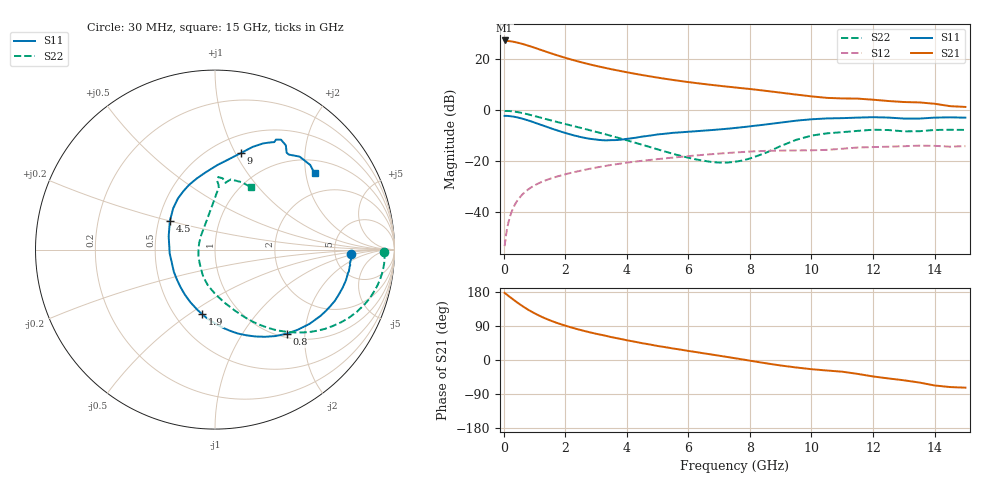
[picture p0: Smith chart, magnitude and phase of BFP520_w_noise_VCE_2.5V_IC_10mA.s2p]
! Infineon Technologies  Discrete & RF Semiconductors
! BFP520
! VCE =  2.5 V,  IC =  10 mA
! Common Emitter S-Parameters:  Oct 2015
# GHz  S  MA  R  50
!  f  S11  S21  S12  S22
! GHz  MAG  ANG  MAG  ANG  MAG  ANG  MAG  ANG
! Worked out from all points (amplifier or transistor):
!   109 points, 30 MHz to 15 GHz, reference 50 ohm
!   highest |S21| = 27.2 dB at 30 MHz (marker M1)
!   |S21| within 3 dB of that: start of sweep to 1.038 GHz
!   unconditionally stable (mu >= 1): start of sweep to 40.44 MHz; 3.471 GHz to end of sweep
!   at 450 MHz: K = 0.31, MSG = 30.9 dB, |S12| = -35.5 dB
!   at 4 GHz: K = 1.06, MAG = 16.3 dB, |S12| = -20.8 dB
!   at 15 GHz: K = 1.30, MAG = 4.4 dB, |S12| = -14.3 dB
!   lowest NFmin = 1.53 dB at 900 MHz
!   S11 on the Smith chart (normalised r, x): 30 MHz: 7.15, -0.84; 800 MHz: 1.07, -1.61; 1.9 GHz: 0.68, -0.56; 4.5 GHz: 0.57, +0.20; 9 GHz: 0.67, +1.06; 15 GHz: 1.35, +2.24
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0.03  0.7577 -1.9  22.89 177.1  0.0021 35.2  0.9403 -0.7
0.07  0.7579 -4.6  22.71 174.2  0.0032 56.5  0.9453 -2.4
0.25  0.7424 -16.5  21.92 163.3  0.0097 72.9  0.9347 -10.2
0.45  0.7051 -29.2  20.72 151.2  0.0167 71.7  0.8993 -18.2
0.6  0.6696 -38.2  19.66 142.8  0.0215 69.3  0.8629 -23.7
0.8  0.6156 -49.6  18.06 132.4  0.0274 65.9  0.8088 -30.2
1  0.5603 -60.1  16.51 123.4  0.0327 63.0  0.7532 -36.0
1.3  0.4844 -74.8  14.32 111.6  0.0398 59.2  0.6741 -43.2
1.6  0.4178 -88.5  12.44 101.7  0.0461 56.3  0.6031 -49.3
1.9  0.3657 -101.5  10.91 93.3  0.0521 53.8  0.5425 -54.5
2.2  0.3237 -115.1  9.645 85.8  0.0579 51.5  0.4888 -59.1
2.6  0.2829 -133.2  8.303 77.0  0.0656 48.5  0.4253 -64.9
3  0.2606 -151.7  7.256 69.2  0.0732 45.6  0.3682 -70.7
3.5  0.2533 -175.1  6.238 60.3  0.0826 41.5  0.3062 -78.9
4.5  0.2973 147.8  4.794 44.3  0.0996 33.1  0.2055 -100.6
5.1  0.3316 133.3  4.179 35.8  0.1088 28.3  0.1603 -114.7
6  0.3697 118.5  3.489 23.9  0.1229 21.2  0.1145 -138.3
7.6  0.4439 94.2  2.704 3.6  0.146 7.2  0.097 152.8
9  0.559 74.8  2.163 -14.5  0.1579 -6.4  0.1938 100.7
10.5  0.6752 62.3  1.709 -27.7  0.163 -15.3  0.344 86.4
13  0.6712 53.5  1.417 -53.5  0.1923 -35.9  0.3767 81.0
15  0.6986 37.4  1.135 -73.0  0.1931 -51.8  0.4015 59.9
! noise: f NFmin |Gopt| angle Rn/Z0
0.45  1.55  0.27  1  0.29
0.9  1.53  0.25  5  0.31
1.9  1.71  0.23  12  0.27
2.4  1.73  0.19  24  0.27
3.5  1.66  0.17  46  0.26
